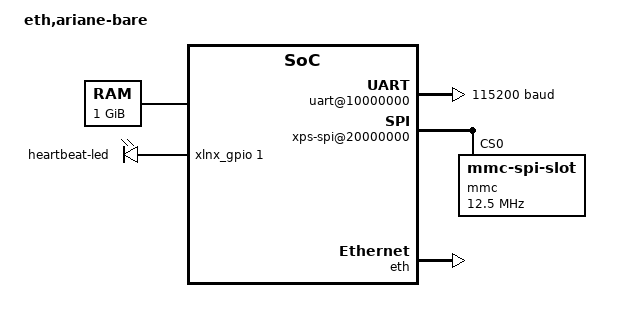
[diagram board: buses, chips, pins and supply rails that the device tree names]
/* SPDX-License-Identifier: SHL-0.51 */

/* Copyright 2018 ETH Zurich and University of Bologna.
 * Copyright and related rights are licensed under the Solderpad Hardware
 * License, Version 0.51 (the "License"); you may not use this file except in
 * compliance with the License.  You may obtain a copy of the License at
 * http://solderpad.org/licenses/SHL-0.51. Unless required by applicable law
 * or agreed to in writing, software, hardware and materials distributed under
 * this License is distributed on an "AS IS" BASIS, WITHOUT WARRANTIES OR
 * CONDITIONS OF ANY KIND, either express or implied. See the License for the
 * specific language governing permissions and limitations under the License.
 */

/dts-v1/;

/ {
  #address-cells = <2>;
  #size-cells = <2>;
  compatible = "eth,ariane-bare-dev";
  model = "eth,ariane-bare";
  chosen {
  };
  cpus {
    #address-cells = <1>;
    #size-cells = <0>;
    timebase-frequency = <15000000>; // 15 MHz
    CPU0: cpu@0 {
      clock-frequency = <50000000>; // 50 MHz
      device_type = "cpu";
      reg = <0>;
      status = "okay";
      compatible = "eth, ariane", "riscv";
      riscv,isa = "rv64imafdc";
      mmu-type = "riscv,sv39";
      tlb-split;
      // HLIC - hart local interrupt controller
      CPU0_intc: interrupt-controller {
        #interrupt-cells = <1>;
        interrupt-controller;
        compatible = "riscv,cpu-intc";
      };
    };
  };
  memory@80000000 {
    device_type = "memory";
    reg = <0x0 0x80000000 0x0 0x40000000>;
  };
  leds {
    compatible = "gpio-leds";
    heartbeat-led {
      gpios = <&xlnx_gpio 1 0>;
      linux,default-trigger = "heartbeat";
      retain-state-suspended;
    };
  };
  L26: soc {
    #address-cells = <2>;
    #size-cells = <2>;
    compatible = "eth,ariane-bare-soc", "simple-bus";
    ranges;
    clint@2000000 {
      compatible = "riscv,clint0";
      interrupts-extended = <&CPU0_intc 3 &CPU0_intc 7>;
      reg = <0x0 0x2000000 0x0 0xc0000>;
      reg-names = "control";
    };
    PLIC0: interrupt-controller@c000000 {
      #address-cells = <0>;
      #interrupt-cells = <1>;
      compatible = "riscv,plic0";
      interrupt-controller;
      interrupts-extended = <&CPU0_intc 11 &CPU0_intc 9>;
      reg = <0x0 0xc000000 0x0 0x4000000>;
      riscv,max-priority = <7>;
      riscv,ndev = <30>;
    };
    debug-controller@0 {
      compatible = "riscv,debug-013";
      interrupts-extended = <&CPU0_intc 65535>;
      reg = <0x0 0x0 0x0 0x1000>;
      reg-names = "control";
    };
    uart@10000000 {
      compatible = "ns16750";
      reg = <0x0 0x10000000 0x0 0x1000>;
      clock-frequency = <50000000>;
      current-speed = <115200>;
      interrupt-parent = <&PLIC0>;
      interrupts = <1>;
      reg-shift = <2>; // regs are spaced on 32 bit boundary
      reg-io-width = <4>; // only 32-bit access are supported
    };
    timer@18000000 {
      compatible = "pulp,apb_timer";
      interrupts = <0x00000004 0x00000005 0x00000006 0x00000007>;
      reg = <0x00000000 0x18000000 0x00000000 0x00001000>;
      interrupt-parent = <&PLIC0>;
      reg-names = "control";
    };
    xps-spi@20000000 {
      compatible = "xlnx,xps-spi-2.00.b", "xlnx,xps-spi-2.00.a";
      #address-cells = <1>;
      #size-cells = <0>;
      interrupt-parent = <&PLIC0>;
      interrupts = < 2 2 >;
      reg = < 0x0 0x20000000 0x0 0x1000 >;
      xlnx,family = "kintex7";
      xlnx,fifo-exist = <0x1>;
      xlnx,num-ss-bits = <0x1>;
      xlnx,num-transfer-bits = <0x8>;
      xlnx,sck-ratio = <0x4>;

      mmc@0 {
        compatible = "mmc-spi-slot";
        reg = <0>;
        spi-max-frequency = <12500000>;
        voltage-ranges = <3300 3300>;
        disable-wp;
      };

      // mmc-slot@0 {
      //   compatible = "fsl,mpc8323rdb-mmc-slot", "mmc-spi-slot";
      //   reg = <0>;  //Chip select 0
      //   spi-max-frequency = <12500000>;
      //   voltage-ranges = <3300 3300>;
      //   //interrupts = < 2 2 >;
      //   //interrupt-parent = <&PLIC0>;
      // };
    };
    eth: lowrisc-eth@30000000 {
      compatible = "lowrisc-eth";
      device_type = "network";
      interrupt-parent = <&PLIC0>;
      interrupts = <3 0>;
      local-mac-address = [00 18 3e 02 e3 7f]; // This needs to change if more than one GenesysII on a VLAN
      reg = <0x0 0x30000000 0x0 0x8000>;
    };
    xlnx_gpio: gpio@40000000 {
      #gpio-cells = <2>;
      compatible = "xlnx,xps-gpio-1.00.a";
      gpio-controller ;
      reg = <0x0 0x40000000 0x0 0x10000 >;
      xlnx,all-inputs = <0x0>;
      xlnx,all-inputs-2 = <0x0>;
      xlnx,dout-default = <0x0>;
      xlnx,dout-default-2 = <0x0>;
      xlnx,gpio-width = <0x8>;
      xlnx,gpio2-width = <0x8>;
      xlnx,interrupt-present = <0x0>;
      xlnx,is-dual = <0x1>;
      xlnx,tri-default = <0xffffffff>;
      xlnx,tri-default-2 = <0xffffffff>;
    };
  };
};
